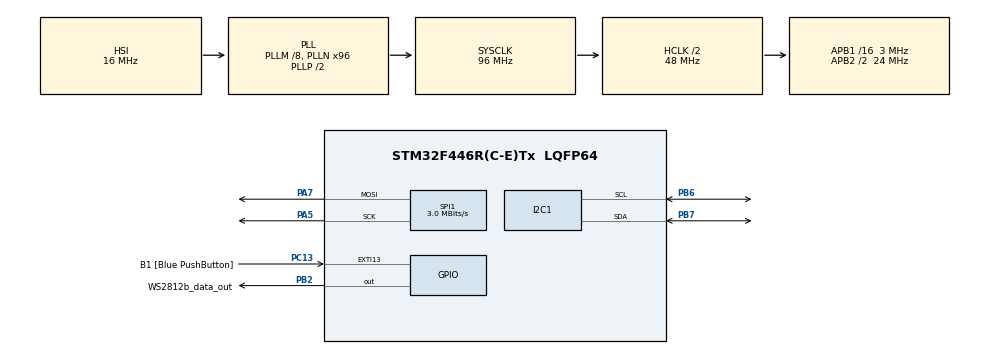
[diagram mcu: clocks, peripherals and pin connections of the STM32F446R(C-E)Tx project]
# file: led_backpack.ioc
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Dma.Request0=SPI1_TX
Dma.SPI1_TX.0.Direction=DMA_MEMORY_TO_PERIPH
Dma.SPI1_TX.0.FIFOMode=DMA_FIFOMODE_DISABLE
Dma.SPI1_TX.0.Instance=DMA2_Stream3
Dma.SPI1_TX.0.MemDataAlignment=DMA_MDATAALIGN_BYTE
Dma.SPI1_TX.0.MemInc=DMA_MINC_ENABLE
Dma.SPI1_TX.0.Mode=DMA_NORMAL
Dma.SPI1_TX.0.PeriphDataAlignment=DMA_PDATAALIGN_BYTE
Dma.SPI1_TX.0.PeriphInc=DMA_PINC_DISABLE
Dma.SPI1_TX.0.Priority=DMA_PRIORITY_LOW
I2C1.I2C_Mode=I2C_Standard
Mcu.Family=STM32F4
Mcu.Name=STM32F446R(C-E)Tx
Mcu.Package=LQFP64
NVIC.DMA2_Stream3_IRQn=true\:0\:0\:false\:false\:true\:false\:true\:true
NVIC.PriorityGroup=NVIC_PRIORITYGROUP_0
PA13.GPIO_Label=TMS
PA13.Mode=Serial_Wire
PA13.Signal=SYS_JTMS-SWDIO
PA14.GPIO_Label=TCK
PA14.Mode=Serial_Wire
PA14.Signal=SYS_JTCK-SWCLK
PA2.GPIO_Label=USART_TX
PA2.Signal=USART2_TX
PA3.GPIO_Label=USART_RX
PA3.Signal=USART2_RX
PA5.Mode=TX_Only_Simplex_Unidirect_Master
PA5.Signal=SPI1_SCK
PA7.Mode=TX_Only_Simplex_Unidirect_Master
PA7.Signal=SPI1_MOSI
PB2.GPIO_Label=WS2812b_data_out
PB2.GPIO_Speed=GPIO_SPEED_FREQ_LOW
PB2.Signal=GPIO_Output
PB3.GPIO_Label=SWO
PB3.Signal=SYS_JTDO-SWO
PB6.Mode=I2C
PB6.Signal=I2C1_SCL
PB7.Mode=I2C
PB7.Signal=I2C1_SDA
PC13.GPIO_Label=B1 [Blue PushButton]
PC13.GPIO_ModeDefaultEXTI=GPIO_MODE_IT_FALLING
PC13.Signal=GPXTI13
PC14-OSC32_IN.Mode=LSE-External-Oscillator
PC14-OSC32_IN.Signal=RCC_OSC32_IN
PC15-OSC32_OUT.Mode=LSE-External-Oscillator
PC15-OSC32_OUT.Signal=RCC_OSC32_OUT
PH0-OSC_IN.Mode=HSE-External-Oscillator
PH0-OSC_IN.Signal=RCC_OSC_IN
PH1-OSC_OUT.Mode=HSE-External-Oscillator
PH1-OSC_OUT.Signal=RCC_OSC_OUT
ProjectManager.HeapSize=0x200
ProjectManager.StackSize=0x400
ProjectManager.TargetToolchain=STM32CubeIDE
RCC.48MHZClocksFreq_Value=84000000
RCC.AHBCLKDivider=RCC_SYSCLK_DIV2
RCC.AHBFreq_Value=48000000
RCC.APB1CLKDivider=RCC_HCLK_DIV16
RCC.APB1Freq_Value=3000000
RCC.APB1TimFreq_Value=6000000
RCC.APB2CLKDivider=RCC_HCLK_DIV2
RCC.APB2Freq_Value=24000000
RCC.APB2TimFreq_Value=48000000
RCC.CortexFreq_Value=48000000
RCC.FLatency-AdvancedSettings=FLASH_LATENCY_1
RCC.HCLKFreq_Value=48000000
RCC.HSE_VALUE=8000000
RCC.HSI_VALUE=16000000
RCC.PLLM=8
RCC.PLLN=96
RCC.PLLSAIN=96
RCC.SYSCLKFreq_VALUE=96000000
RCC.SYSCLKSource=RCC_SYSCLKSOURCE_PLLCLK
RCC.USBFreq_Value=96000000
RCC.VCOOutputFreq_Value=192000000
SPI1.BaudRatePrescaler=SPI_BAUDRATEPRESCALER_8
SPI1.CalculateBaudRate=3.0 MBits/s
SPI1.Direction=SPI_DIRECTION_2LINES
SPI1.Mode=SPI_MODE_MASTER
SPI1.VirtualType=VM_MASTER
board=NUCLEO-F446RE

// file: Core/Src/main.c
/* USER CODE BEGIN Header */
/**
  ******************************************************************************
  * @file           : main.c
  * @brief          : Main program body
  ******************************************************************************
  * @attention
  *
  * Copyright (c) 2023 STMicroelectronics.
  * All rights reserved.
  *
  * This software is licensed under terms that can be found in the LICENSE file
  * in the root directory of this software component.
  * If no LICENSE file comes with this software, it is provided AS-IS.
  *
  ******************************************************************************
  */
/* USER CODE END Header */
#include "main.h"

/* USER CODE BEGIN Includes */
#include <string.h>
#include "globals.h"
#include "led_patterns.h"
#include "led_driver.h"
#include "ssd_1306.h"
/* USER CODE END Includes */

//I2C_HandleTypeDef hi2c1;

//SPI_HandleTypeDef hspi1;
DMA_HandleTypeDef hdma_spi1_tx;

/* USER CODE BEGIN PV */
typedef enum {
	LED_OFF=0, PATTERN=1, COLOR=3, SPEED=5, BRIGHTNESS=7
}ctrl_state;

typedef enum {
	IDLE, STATIC, BREATHE, RAINBOW, METEOR
}pattern_state;

ctrl_state cur_mode_state = LED_OFF;
ctrl_state new_mode_state = LED_OFF;

pattern_state cur_col_state = IDLE;
pattern_state new_col_state = IDLE;
/* USER CODE END PV */

void SystemClock_Config(void);
static void MX_GPIO_Init(void);
static void MX_DMA_Init(void);
static void MX_SPI1_Init(void);
static void MX_I2C1_Init(void);

int main(void)
{

  /* MCU Configuration--------------------------------------------------------*/

  /* Reset of all peripherals, Initializes the Flash interface and the Systick. */
  HAL_Init();

  /* Configure the system clock */
  SystemClock_Config();

  /* Initialize all configured peripherals */
  MX_GPIO_Init();
  MX_DMA_Init();
  MX_SPI1_Init();
  MX_I2C1_Init();
  /* USER CODE BEGIN 2 */
  dma_buffer_init();
  ssd1306_init();
  HAL_Delay(500);

  /* USER CODE END 2 */

  /* Infinite loop */
  /* USER CODE BEGIN WHILE */
  while (1)
  {
	  switch (cur_mode_state){
	  	  case LED_OFF:{
	  		  if (1==1){
	  			  display_init();
	  			  new_mode_state = PATTERN;
	  			  choice_selection(PATTERN);
	  		  }
	  		  else{
	  			  new_mode_state = LED_OFF;
	  		  }
	  		  break;
	  	  }
	  	  case PATTERN:{
	  		/*
	  			if (change mode down){
	  				new_mode_state = COLOR;
	  				choice_selection(COLOR);
	  			} else if (change mode up){
	  			  	new_mode_state = BRIGHTNESS;
	  			  	choice_selection(BRIGHTNESS);
	  			} else {
	  			  	new_mode_state = PATTERN;
	  			}
	  		*/

	  		  switch(cur_col_state){
	  		  	  case IDLE:{

	  		  		  break;
	  		  	  }
	  		  	  case STATIC:{
	  		  		  /*
	  		  	  	  if (change mode right){
	  		  	  	  	  new_state = BREATHE;
	  		  	  	  } else if (change mode up){
	  		  	  	  	  new_state = BRIGHTNESS;
	  		  	  	  } else {
	  		  	  	  	  new_state = STATIC;
	  		  	  	  }
	  		  		   */
	  		  		  static_color(test_red);
	  		  		  break;
	  		  	  }
	  		  	  case (BREATHE):{
	  		  	  	  /*
	  				  if (change mode right){
	  		  	  	  	  new_state = RAINBOW;
	  		  	  	  } else if (change mode up){
	  		  	  	  	  new_state = STATIC;
	  		  	  	  } else {
	  		  	  	  	  new_state = BREATHE;
	  		  	  	  }
	  		   	   	   */
	  			 	 breathe(test_red);
	  			 	 break;
	  		  	  }
	  		  	  case (RAINBOW):{
	  		  		  /*
	  		  	  	  if (change mode right){
	  		  	  	  	  new_state = METEOR;
	  		  	  	  } else if (change mode up){
	  		  	  	  new_state = BREATHE;
	  		  	  	  } else {
	  		  	  	  	  new_state = RAINBOW;
	  		  	  	  }
	  		  		   */
	  		  		  rainbow();
	  		  		  break;
	  		  	  }
	  		  	  case (METEOR):{
	  		  		  /*
	  		  	  	  if (change mode right){
	  		  	  	  	  new_state = SPEED;
	  		  	  	  } else if (change mode up){
	  		  	  	  	  new_state = RAINBOW;
	  		  	  	  } else {
	  		  	  	  	  new_state = METEOR;
	  		  	  	  }
	  		  		   */
	  		  		  meteor(test_red);
	  		  		  break;
	  		  	  }
	  	  	  }// end switch

	  		  cur_col_state = new_col_state;
	  	  	  break;
	  	  }
	  	  case COLOR:{
		  		/*
		  			if (change mode down){
		  				new_mode_state = SPEED;
		  				choice_selection(SPEED);

		  			} else if (change mode up){
		  			  	new_mode_state = PATTERN;
		  			  	choice_selection(PATTERN);
		  			} else {
		  			  	new_mode_state = COLOR;
		  			}
		  		*/
	  		break;
	  	  }
	  	  case SPEED:{
		  		/*
		  			if (change mode down){
		  				new_mode_state = BRIGHTNESS;
		  				choice_selection(BRIGHTNESS);
		  			} else if (change mode up){
		  			  	new_mode_state = COLOR;
		  			  	choice_selection(COLOR);
		  			} else {
		  			  	new_mode_state = SPEED;
		  			}
		  		*/
	  		break;
	  	  }
	  	  case BRIGHTNESS:{
		  		/*
		  			if (change mode down){
		  				new_mode_state = PATTERN;
		  				choice_selection(PATTERN);
		  			} else if (change mode up){
		  			  	new_mode_state = SPEED;
		  			  	choice_selection(SPEED);
		  			} else {
		  			  	new_mode_state = BRIGHTNESS;
		  			}
		  		*/
	  		break;
	  	  }
	  }

	  cur_mode_state = new_mode_state;
    /* USER CODE END WHILE */

  }
}

void SystemClock_Config(void)
{
  RCC_OscInitTypeDef RCC_OscInitStruct = {0};
  RCC_ClkInitTypeDef RCC_ClkInitStruct = {0};

  /** Configure the main internal regulator output voltage
  */
  __HAL_RCC_PWR_CLK_ENABLE();
  __HAL_PWR_VOLTAGESCALING_CONFIG(PWR_REGULATOR_VOLTAGE_SCALE3);

  /** Initializes the RCC Oscillators according to the specified parameters
  * in the RCC_OscInitTypeDef structure.
  */
  RCC_OscInitStruct.OscillatorType = RCC_OSCILLATORTYPE_HSI;
  RCC_OscInitStruct.HSIState = RCC_HSI_ON;
  RCC_OscInitStruct.HSICalibrationValue = RCC_HSICALIBRATION_DEFAULT;
  RCC_OscInitStruct.PLL.PLLState = RCC_PLL_ON;
  RCC_OscInitStruct.PLL.PLLSource = RCC_PLLSOURCE_HSI;
  RCC_OscInitStruct.PLL.PLLM = 8;
  RCC_OscInitStruct.PLL.PLLN = 96;
  RCC_OscInitStruct.PLL.PLLP = RCC_PLLP_DIV2;
  RCC_OscInitStruct.PLL.PLLQ = 2;
  RCC_OscInitStruct.PLL.PLLR = 2;
  if (HAL_RCC_OscConfig(&RCC_OscInitStruct) != HAL_OK)
  {
    Error_Handler();
  }

  /** Initializes the CPU, AHB and APB buses clocks
  */
  RCC_ClkInitStruct.ClockType = RCC_CLOCKTYPE_HCLK|RCC_CLOCKTYPE_SYSCLK
                              |RCC_CLOCKTYPE_PCLK1|RCC_CLOCKTYPE_PCLK2;
  RCC_ClkInitStruct.SYSCLKSource = RCC_SYSCLKSOURCE_PLLCLK;
  RCC_ClkInitStruct.AHBCLKDivider = RCC_SYSCLK_DIV2;
  RCC_ClkInitStruct.APB1CLKDivider = RCC_HCLK_DIV16;
  RCC_ClkInitStruct.APB2CLKDivider = RCC_HCLK_DIV2;

  if (HAL_RCC_ClockConfig(&RCC_ClkInitStruct, FLASH_LATENCY_1) != HAL_OK)
  {
    Error_Handler();
  }
}

static void MX_I2C1_Init(void)
{

  hi2c1.Instance = I2C1;
  hi2c1.Init.ClockSpeed = 100000;
  hi2c1.Init.DutyCycle = I2C_DUTYCYCLE_2;
  hi2c1.Init.OwnAddress1 = 0;
  hi2c1.Init.AddressingMode = I2C_ADDRESSINGMODE_7BIT;
  hi2c1.Init.DualAddressMode = I2C_DUALADDRESS_DISABLE;
  hi2c1.Init.OwnAddress2 = 0;
  hi2c1.Init.GeneralCallMode = I2C_GENERALCALL_DISABLE;
  hi2c1.Init.NoStretchMode = I2C_NOSTRETCH_DISABLE;
  if (HAL_I2C_Init(&hi2c1) != HAL_OK)
  {
    Error_Handler();
  }

}

static void MX_SPI1_Init(void)
{

  /* SPI1 parameter configuration*/
  hspi1.Instance = SPI1;
  hspi1.Init.Mode = SPI_MODE_MASTER;
  hspi1.Init.Direction = SPI_DIRECTION_2LINES;
  hspi1.Init.DataSize = SPI_DATASIZE_8BIT;
  hspi1.Init.CLKPolarity = SPI_POLARITY_LOW;
  hspi1.Init.CLKPhase = SPI_PHASE_1EDGE;
  hspi1.Init.NSS = SPI_NSS_SOFT;
  hspi1.Init.BaudRatePrescaler = SPI_BAUDRATEPRESCALER_8;
  hspi1.Init.FirstBit = SPI_FIRSTBIT_MSB;
  hspi1.Init.TIMode = SPI_TIMODE_DISABLE;
  hspi1.Init.CRCCalculation = SPI_CRCCALCULATION_DISABLE;
  hspi1.Init.CRCPolynomial = 10;
  if (HAL_SPI_Init(&hspi1) != HAL_OK)
  {
    Error_Handler();
  }

}

static void MX_DMA_Init(void)
{

  /* DMA controller clock enable */
  __HAL_RCC_DMA2_CLK_ENABLE();

  /* DMA interrupt init */
  /* DMA2_Stream3_IRQn interrupt configuration */
  HAL_NVIC_SetPriority(DMA2_Stream3_IRQn, 0, 0);
  HAL_NVIC_EnableIRQ(DMA2_Stream3_IRQn);

}

static void MX_GPIO_Init(void)
{
  GPIO_InitTypeDef GPIO_InitStruct = {0};

  /* GPIO Ports Clock Enable */
  __HAL_RCC_GPIOC_CLK_ENABLE();
  __HAL_RCC_GPIOH_CLK_ENABLE();
  __HAL_RCC_GPIOA_CLK_ENABLE();
  __HAL_RCC_GPIOB_CLK_ENABLE();

  /*Configure GPIO pin Output Level */
  HAL_GPIO_WritePin(WS2812b_data_out_GPIO_Port, WS2812b_data_out_Pin, GPIO_PIN_RESET);

  /*Configure GPIO pin : B1_Pin */
  GPIO_InitStruct.Pin = B1_Pin;
  GPIO_InitStruct.Mode = GPIO_MODE_IT_FALLING;
  GPIO_InitStruct.Pull = GPIO_NOPULL;
  HAL_GPIO_Init(B1_GPIO_Port, &GPIO_InitStruct);

  /*Configure GPIO pins : USART_TX_Pin USART_RX_Pin */
  GPIO_InitStruct.Pin = USART_TX_Pin|USART_RX_Pin;
  GPIO_InitStruct.Mode = GPIO_MODE_AF_PP;
  GPIO_InitStruct.Pull = GPIO_NOPULL;
  GPIO_InitStruct.Speed = GPIO_SPEED_FREQ_VERY_HIGH;
  GPIO_InitStruct.Alternate = GPIO_AF7_USART2;
  HAL_GPIO_Init(GPIOA, &GPIO_InitStruct);

  /*Configure GPIO pin : WS2812b_data_out_Pin */
  GPIO_InitStruct.Pin = WS2812b_data_out_Pin;
  GPIO_InitStruct.Mode = GPIO_MODE_OUTPUT_PP;
  GPIO_InitStruct.Pull = GPIO_NOPULL;
  GPIO_InitStruct.Speed = GPIO_SPEED_FREQ_LOW;
  HAL_GPIO_Init(WS2812b_data_out_GPIO_Port, &GPIO_InitStruct);

}

void Error_Handler(void)
{
  __disable_irq();
  while (1)
  {
  }
}
